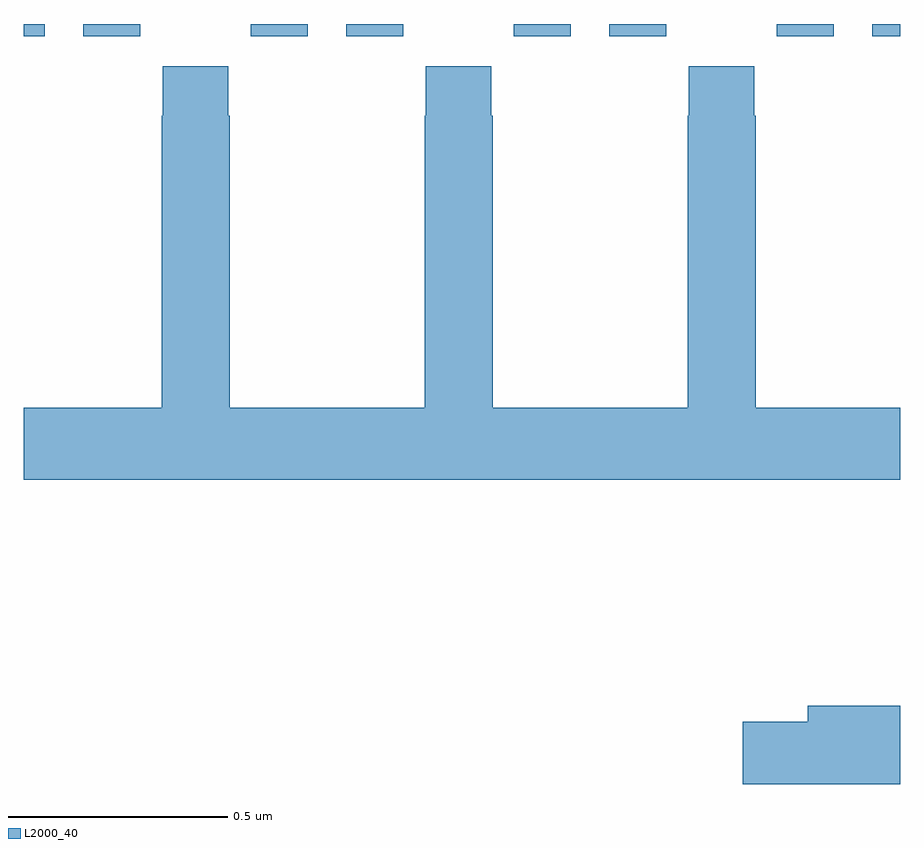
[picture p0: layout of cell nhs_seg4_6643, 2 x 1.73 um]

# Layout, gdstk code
import gdstk
lib = gdstk.Library(unit=1e-6, precision=1e-09)
def R(c, l, rs):  # rectangles x0, y0, x1, y1
    for r in rs: c.add(gdstk.rectangle(r[:2], r[2:], *l))
def P(c, l, *ps):  # polygons
    for p in ps: c.add(gdstk.Polygon(p, *l))
L2000_40 = (2000, 40)

nhs_seg4_6643 = lib.new_cell('nhs_seg4_6643')
R(nhs_seg4_6643, L2000_40, [(193,757.872,193.048,757.9), (193.136,757.872,193.266,757.9), (193.518,757.872,193.648,757.9), (193.736,757.872,193.866,757.9), (194.118,757.872,194.248,757.9), (194.336,757.872,194.466,757.9), (194.718,757.872,194.848,757.9), (194.936,757.872,195,757.9)])
P(nhs_seg4_6643, L2000_40, [(195,757.024),(194.67,757.024),(194.67,757.691),(194.667,757.691),(194.667,757.804),(194.517,757.804),(194.517,757.691),(194.515,757.691),(194.515,757.024),(194.07,757.024),(194.07,757.691),(194.067,757.691),(194.067,757.804),(193.917,757.804),(193.917,757.691),(193.915,757.691),(193.915,757.024),(193.47,757.024),(193.47,757.691),(193.467,757.691),(193.467,757.804),(193.317,757.804),(193.317,757.691),(193.315,757.691),(193.315,757.024),(193,757.024),(193,756.86),(195,756.86)],
  [(195,756.344),(194.789,756.344),(194.789,756.308),(194.64,756.308),(194.64,756.166),(195,756.166)])

lib.write_gds('nhs_seg4_6643.gds')
